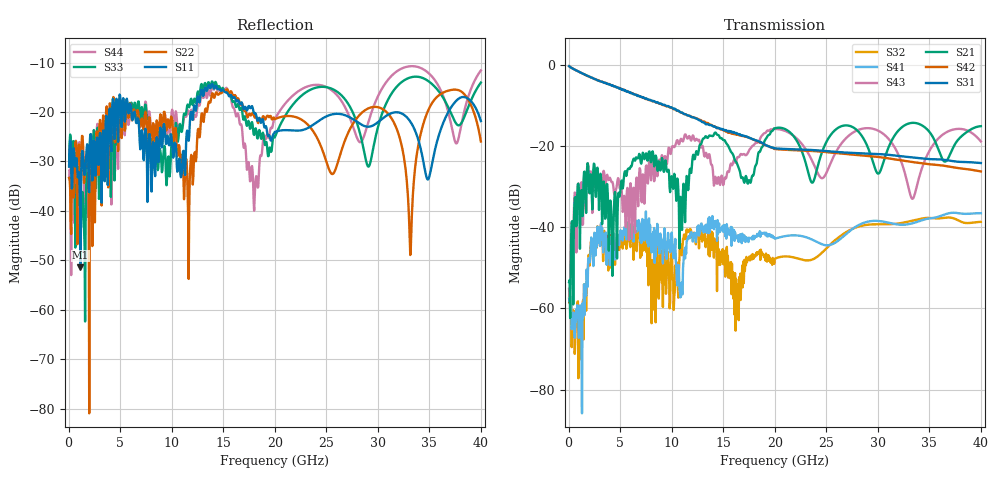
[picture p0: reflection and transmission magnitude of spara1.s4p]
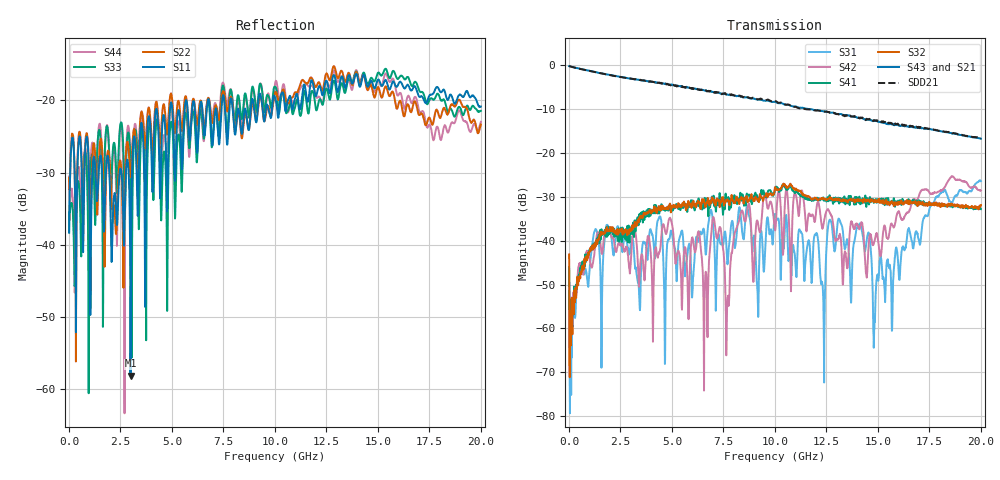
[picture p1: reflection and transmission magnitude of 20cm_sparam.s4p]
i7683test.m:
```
%% setup channel parameters
bit_rate = 28e9;         %bits-per-second
bit_time = 1/bit_rate;   % second
samples_per_bit = 64;  
sampling_rate = bit_rate * samples_per_bit; 
sample_step = bit_time / samples_per_bit;
seqlength = 10000;   % length of random sequence bits
z0_t = input('Enter the reference impedance: ');
z0_r = input('Enter the terminal impedance: ');

%% setup IBIS AMI model path and filename
modelpath = 'C:\Users\younger\Documents\MATLAB\_develop\_chasim\Qlogic_Cetus_wrk';

tx_amifilename = 'g28_28g_tx.ami';
rx_amifilename = 'g28_28g_rx.ami';
tx_dllfilename = 'G28_28G_Tx_32.dll';
rx_dllfilename = 'G28_28G_Rx_32.dll';

tx_amifile = fullfile(modelpath, tx_amifilename);
rx_amifile = fullfile(modelpath, rx_amifilename);
tx_dllfile = fullfile(modelpath, tx_dllfilename);
rx_dllfile = fullfile(modelpath, rx_dllfilename);

addpath(modelpath)

%% concatenation
addpath('C:\Users\younger\Documents\MATLAB\_develop\_chasim\impulse_response_oct2012');
addpath('C:\Users\younger\Documents\MATLAB\_develop\_chasim\SYZ_conversions');
s4ppath = 'C:\Users\younger\Documents\MATLAB\_develop\_chasim\Qlogic_Cetus_wrk';

SNP_ADSname = 'spara1.s4p';
SNP_ADSfile= fullfile(s4ppath, SNP_ADSname);

SNP1_s4pname = 'm_qlogic_baker_e049_fc_tx0_shrt.s4p';
SNP1_s4pfile = fullfile(s4ppath, SNP1_s4pname);

SNP2_s4pname = '20cm_sparam.s4p';
SNP2_s4pfile = fullfile(s4ppath, SNP2_s4pname);

SNP3_s4pname = 'm_qlogic_baker_e049_fc_rx0_shrt.s4p';
SNP3_s4pfile = fullfile(s4ppath, SNP3_s4pname);

SNP_ADS = tsnpimporti(SNP_ADSfile);
SNP1_s4pstruct = tsnpimporti(SNP1_s4pfile);
SNP2_s4pstruct = tsnpimporti(SNP2_s4pfile);
SNP3_s4pstruct = tsnpimporti(SNP3_s4pfile);
%input pindex1 pindex2 pindex 3
%need to be chosen accorinding the pin index of the networks
pindex1 = [1 2;3 4];
pindex2 = [1 2;3 4];
pindex3 = [1 2;3 4];

% calculate DC point of S-parameter in 20cm_sparam.s4p
Rp = 0.2 / 0.035 * 0.0175;
Rpg = 0.2;
R1 = z0_t;
R2 = z0_r;
totR = Rp + Rpg + R1 + R2;
dcpoint = zeros(4, 4);
dcpoint(1, 1) = 1 - (2 * R1) / totR;
dcpoint(1, 2) = (2 * sqrt(R1 * R2)) / totR;
dcpoint(2, 1) = dcpoint(1, 2);
dcpoint(2, 2) = 1 - (2 * R2) / totR;
dcpoint(3, 3) = dcpoint(1, 1);
dcpoint(3, 4) = dcpoint(1, 2);
dcpoint(4, 3) = dcpoint(2, 1);
dcpoint(4, 4) = dcpoint(2, 2);

% insert DC point
SNP2_s4pstruct0 = snpinsertdc(SNP2_s4pstruct, dcpoint);
fq = SNP2_s4pstruct0.freqlist;

[SNPO_conca,pindex,fq,err,errmsg] = concatenate(SNP1_s4pstruct,SNP2_s4pstruct0,pindex1,pindex2,fq);
[SNPO_conca,pindex,fq,err,errmsg] = concatenate(SNPO_conca,SNP3_s4pstruct,pindex,pindex3,fq);

%% get channel impulse response 

flist = SNPO_conca.freqlist;
nfp = length(flist);
s12 = reshape( SNPO_conca.data(1,2,:), nfp, 1) ;

fstep = 10e6;

[tlist, impresi, tstep, tspan, err, errmsg] = spimpres(flist, s12);

tinterp = 0:sample_step:5000*sample_step;
[channel_impres, e2, em2] = wavesample(tlist, impresi, tinterp);
plot(tinterp, channel_impres,'--rs', tlist, impresi,'-.bo');
title('Impulse Response');
xlabel('Time');
ylabel('Impulse');
legend('Resampled');
grid on;


pausehere = 1;
```
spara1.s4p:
! Created Fri Jan 30 21:06:49 2015
# hz S ma R 50
! 4 Port Network Data from SP1.SP block
! freq  magS11  angS11  magS12  angS12  magS13  angS13  magS14  angS14
!  magS21  angS21  magS22  angS22  magS23  angS23  magS24  angS24
!  magS31  angS31  magS32  angS32  magS33  angS33  magS34  angS34
!  magS41  angS41  magS42  angS42  magS43  angS43  magS44  angS44
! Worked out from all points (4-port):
!   800 points, 50 MHz to 40 GHz, reference 50 ohm
!   strongest paths, dB at 50 MHz, 10.05 GHz, 20.05 GHz, 30.05 GHz, 40 GHz:
!     S31: -0.3, -10.5, -20.6, -21.9, -24.2
!     S42: -0.3, -10.6, -20.7, -22.7, -26.2
!     S21: -53.5, -27.8, -15.6, -26.8, -15.1
!     S43: -55.2, -20.1, -15.8, -16.2, -18.8
!     S41: -55.2, -42.9, -42.8, -38.4, -36.5
!     S32: -57.6, -48.6, -47.7, -39.3, -38.7
!   lowest |S11| = -51.4 dB at 1.15 GHz (marker M1), VSWR 1.01, Z = 50.3 - j0.0904 ohm
!   |S11| at or under -10 dB: start of sweep to end of sweep
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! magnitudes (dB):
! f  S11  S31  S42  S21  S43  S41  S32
! 50 MHz  -31.1  -0.3  -0.3  -53.5  -55.2  -55.2  -57.6
! 1.15 GHz  -51.4  -1.8  -1.8  -34.7  -32.1  -64.7  -70.6
! 40 GHz  -21.8  -24.2  -26.2  -15.1  -18.8  -36.5  -38.7
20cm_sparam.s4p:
! S11 = SDD11
! S12 = SDD12
! S13 = SDC11
! S14 = SDC12
! S21 = SDD21
! S22 = SDD22
! S23 = SDC21
! S24 = SDC22
! S31 = SCD11
! S32 = SCD12
! S33 = SCC11
! S34 = SCC12
! S41 = SCD21
! S42 = SCD22
! S43 = SCC21
! S44 = SCC22
! FILE: L:\Projects\Eval Projects\Cetus A1\Receiver\LSI Compliance Channels\20 cm\20cm sparam.s4p
!$DUT_CFG_DESC: Default 4 Port Configuration
!$NUMBER_PORTS: 4
!$DIFF_PORT_MAP: 1|2P|2|2P|0|UC|0|UC|
!$PORT_MAP: 1|1|<<<<<<|2|2|>>>>>>|3|3|<<<<<<|4|4|>>>>>>|
# MHz S MA R 50.00
! FREQ  S11  S12  S13  S14
!  S21  S22  S23  S24
!  S31  S32  S33  S34
!  S41  S42  S43  S44
!  MAG  ANGLE  MAG  ANGLE  MAG  ANGLE  MAG  ANGLE
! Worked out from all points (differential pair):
!   2000 points, 10 MHz to 20 GHz, reference 50 ohm
!   strongest paths, dB at 10 MHz, 5.01 GHz, 10.01 GHz, 15.01 GHz, 20 GHz:
!     S43: -0.2, -4.5, -8.3, -12.8, -16.7
!     S21: -0.2, -4.6, -8.3, -12.7, -16.8
!     S32: -43.1, -32.4, -27.8, -31.0, -31.8
!     S41: -46.0, -32.7, -28.2, -30.9, -32.8
!     S42: -52.7, -36.4, -37.7, -39.9, -28.6
!     S31: -51.6, -38.4, -33.9, -48.9, -26.4
!   taken as a pair (ports 3,1 in; 4,2 out), SDD21 dB: -0.2, -4.6, -8.1, -12.7, -16.6
!   lowest |S11| = -58.1 dB at 2.99 GHz (marker M1), VSWR 1.00, Z = 50 + j0.123 ohm
!   |S11| at or under -10 dB: start of sweep to end of sweep
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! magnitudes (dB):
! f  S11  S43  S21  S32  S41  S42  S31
! 10 MHz  -38.3  -0.2  -0.2  -43.1  -46.0  -52.7  -51.6
! 2.99 GHz  -58.1  -3.0  -3.0  -37.5  -38.1  -46.1  -41.4
! 20 GHz  -20.8  -16.7  -16.8  -31.8  -32.8  -28.6  -26.4
